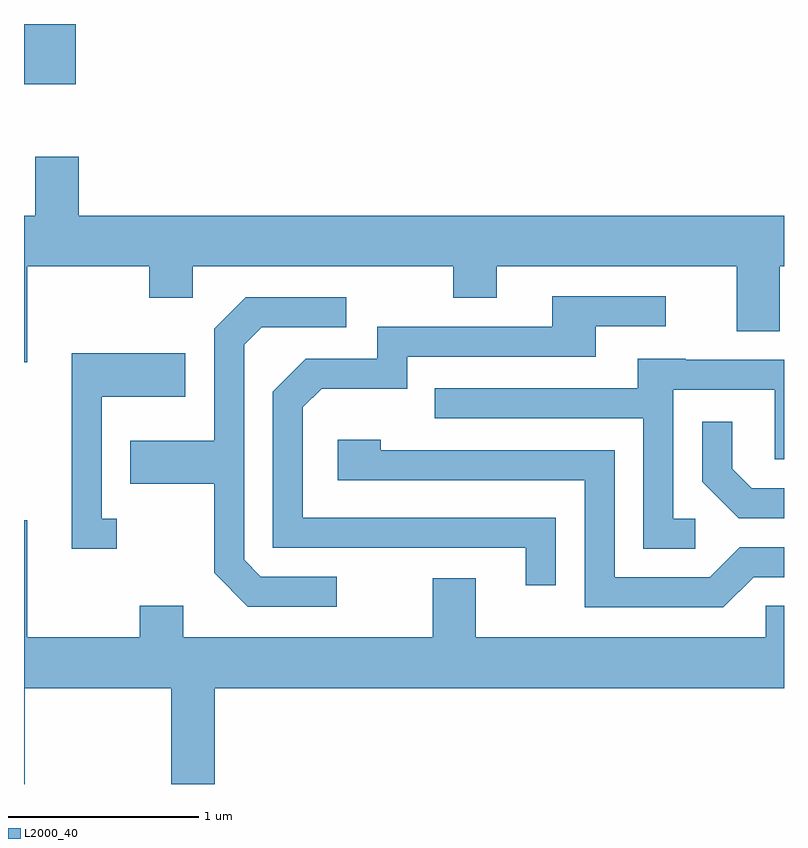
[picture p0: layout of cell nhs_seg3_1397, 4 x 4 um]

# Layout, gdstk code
import gdstk
lib = gdstk.Library(unit=1e-6, precision=1e-09)
def R(c, l, rs):  # rectangles x0, y0, x1, y1
    for r in rs: c.add(gdstk.rectangle(r[:2], r[2:], *l))
def P(c, l, *ps):  # polygons
    for p in ps: c.add(gdstk.Polygon(p, *l))
L2000_40 = (2000, 40)

nhs_seg3_1397 = lib.new_cell('nhs_seg3_1397')
R(nhs_seg3_1397, L2000_40, [(225.611,1193.576,225.884,1193.892)])
P(nhs_seg3_1397, L2000_40, [(225.629,1192.616),(226.271,1192.616),(226.271,1192.451),(226.499,1192.451),(226.499,1192.616),(227.871,1192.616),(227.871,1192.451),(228.099,1192.451),(228.099,1192.616),(229.361,1192.616),(229.361,1192.276),(229.589,1192.276),(229.589,1192.616),(229.611,1192.616),(229.611,1192.884),(225.899,1192.884),(225.899,1193.194),(225.671,1193.194),(225.671,1192.884),(225.611,1192.884),(225.611,1192.111),(225.629,1192.111)],
  [(228.409,1191.294),(227.079,1191.294),(227.079,1191.874),(227.177,1191.971),(227.629,1191.971),(227.629,1192.141),(228.619,1192.141),(228.619,1192.301),(228.988,1192.301),(228.988,1192.459),(228.391,1192.459),(228.391,1192.299),(227.471,1192.299),(227.471,1192.129),(227.094,1192.129),(226.921,1191.957),(226.921,1191.136),(228.251,1191.136),(228.251,1190.938),(228.409,1190.938)],
  [(227.258,1190.984),(226.857,1190.984),(226.769,1191.072),(226.769,1192.204),(226.862,1192.296),(227.308,1192.296),(227.308,1192.454),(226.779,1192.454),(226.611,1192.287),(226.611,1191.699),(226.171,1191.699),(226.171,1191.471),(226.611,1191.471),(226.611,1191.004),(226.789,1190.826),(227.258,1190.826)],
  [(226.098,1191.289),(226.019,1191.289),(226.019,1191.931),(226.459,1191.931),(226.459,1192.159),(225.861,1192.159),(225.861,1191.131),(226.098,1191.131)],
  [(229.143,1191.289),(229.029,1191.289),(229.029,1191.966),(229.561,1191.966),(229.561,1191.601),(229.611,1191.601),(229.611,1192.124),(229.095,1192.124),(229.095,1192.129),(228.841,1192.129),(228.841,1191.974),(227.773,1191.974),(227.773,1191.816),(228.871,1191.816),(228.871,1191.131),(229.143,1191.131)],
  [(229.611,1191.449),(229.442,1191.449),(229.339,1191.552),(229.339,1191.798),(229.181,1191.798),(229.181,1191.484),(229.374,1191.291),(229.611,1191.291)],
  [(229.452,1190.981),(229.611,1190.981),(229.611,1191.139),(229.379,1191.139),(229.219,1190.979),(228.719,1190.979),(228.719,1191.649),(227.489,1191.649),(227.489,1191.704),(227.261,1191.704),(227.261,1191.491),(228.561,1191.491),(228.561,1190.821),(229.292,1190.821)],
  [(225.614,1190.396),(226.386,1190.396),(226.386,1189.892),(226.614,1189.892),(226.614,1190.396),(229.611,1190.396),(229.611,1190.829),(229.516,1190.829),(229.516,1190.664),(227.989,1190.664),(227.989,1190.974),(227.761,1190.974),(227.761,1190.664),(226.449,1190.664),(226.449,1190.829),(226.221,1190.829),(226.221,1190.664),(225.629,1190.664),(225.629,1191.279),(225.611,1191.279),(225.611,1189.892),(225.614,1189.892)])

lib.write_gds('nhs_seg3_1397.gds')
